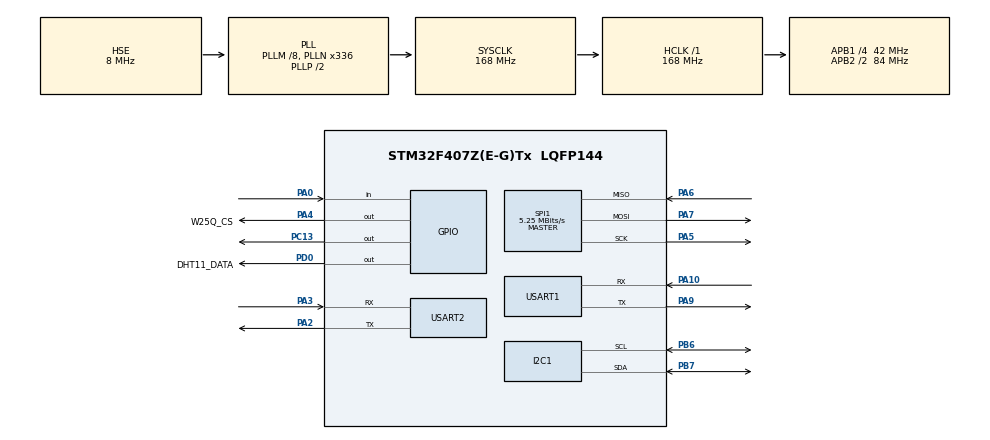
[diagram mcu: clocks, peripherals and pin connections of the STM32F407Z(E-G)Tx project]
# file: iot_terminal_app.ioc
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Dma.Request0=USART1_RX
Dma.USART1_RX.0.Direction=DMA_PERIPH_TO_MEMORY
Dma.USART1_RX.0.FIFOMode=DMA_FIFOMODE_DISABLE
Dma.USART1_RX.0.Instance=DMA2_Stream2
Dma.USART1_RX.0.MemDataAlignment=DMA_MDATAALIGN_BYTE
Dma.USART1_RX.0.MemInc=DMA_MINC_ENABLE
Dma.USART1_RX.0.Mode=DMA_NORMAL
Dma.USART1_RX.0.PeriphDataAlignment=DMA_PDATAALIGN_BYTE
Dma.USART1_RX.0.PeriphInc=DMA_PINC_DISABLE
Dma.USART1_RX.0.Priority=DMA_PRIORITY_LOW
FREERTOS.Tasks01=StatusTask,16,128,StartStatusTask,Default,NULL,Dynamic,NULL,NULL;SensorTask,24,256,StartSensorTask,As weak,NULL,Dynamic,NULL,NULL;WiFiTask,24,512,StartWiFiTask,Default,NULL,Dynamic,NULL,NULL
FREERTOS.configTOTAL_HEAP_SIZE=65536
FREERTOS.configUSE_NEWLIB_REENTRANT=1
IWDG.Prescaler=IWDG_PRESCALER_128
IWDG.Reload=1000
Mcu.Family=STM32F4
Mcu.Name=STM32F407Z(E-G)Tx
Mcu.Package=LQFP144
NVIC.DMA2_Stream2_IRQn=true\:5\:0\:false\:false\:true\:true\:false\:true\:true
NVIC.PriorityGroup=NVIC_PRIORITYGROUP_4
NVIC.RCC_IRQn=true\:5\:0\:false\:false\:true\:true\:true\:false\:true
NVIC.TIM6_DAC_IRQn=true\:15\:0\:false\:false\:true\:false\:false\:true\:true
NVIC.TimeBase=TIM6_DAC_IRQn
NVIC.TimeBaseIP=TIM6
NVIC.USART1_IRQn=true\:5\:0\:false\:false\:true\:true\:true\:true\:true
NVIC.USART2_IRQn=true\:5\:0\:false\:false\:true\:true\:true\:true\:true
PA0-WKUP.GPIO_Mode=GPIO_MODE_INPUT
PA0-WKUP.GPIO_PuPd=GPIO_PULLUP
PA0-WKUP.Signal=GPIO_Input
PA10.Mode=Asynchronous
PA10.Signal=USART1_RX
PA13.Mode=Serial_Wire
PA13.Signal=SYS_JTMS-SWDIO
PA14.Mode=Serial_Wire
PA14.Signal=SYS_JTCK-SWCLK
PA2.Mode=Asynchronous
PA2.Signal=USART2_TX
PA3.Mode=Asynchronous
PA3.Signal=USART2_RX
PA4.GPIO_Label=W25Q_CS
PA4.PinState=GPIO_PIN_SET
PA4.Signal=GPIO_Output
PA5.Mode=Full_Duplex_Master
PA5.Signal=SPI1_SCK
PA6.Mode=Full_Duplex_Master
PA6.Signal=SPI1_MISO
PA7.Mode=Full_Duplex_Master
PA7.Signal=SPI1_MOSI
PA9.Mode=Asynchronous
PA9.Signal=USART1_TX
PB6.Mode=I2C
PB6.Signal=I2C1_SCL
PB7.Mode=I2C
PB7.Signal=I2C1_SDA
PC13-ANTI_TAMP.Signal=GPIO_Output
PD0.GPIO_Label=DHT11_DATA
PD0.Signal=GPIO_Output
PH0-OSC_IN.Mode=HSE-External-Oscillator
PH0-OSC_IN.Signal=RCC_OSC_IN
PH1-OSC_OUT.Mode=HSE-External-Oscillator
PH1-OSC_OUT.Signal=RCC_OSC_OUT
ProjectManager.HeapSize=0x200
ProjectManager.StackSize=0x400
ProjectManager.TargetToolchain=STM32CubeIDE
RCC.48MHZClocksFreq_Value=84000000
RCC.AHBFreq_Value=168000000
RCC.APB1CLKDivider=RCC_HCLK_DIV4
RCC.APB1Freq_Value=42000000
RCC.APB1TimFreq_Value=84000000
RCC.APB2CLKDivider=RCC_HCLK_DIV2
RCC.APB2Freq_Value=84000000
RCC.APB2TimFreq_Value=168000000
RCC.CortexFreq_Value=168000000
RCC.HCLKFreq_Value=168000000
RCC.HSE_VALUE=8000000
RCC.HSI_VALUE=16000000
RCC.LSE_VALUE=32768
RCC.PLLM=8
RCC.PLLN=336
RCC.PLLSourceVirtual=RCC_PLLSOURCE_HSE
RCC.SYSCLKFreq_VALUE=168000000
RCC.SYSCLKSource=RCC_SYSCLKSOURCE_PLLCLK
RCC.VCOOutputFreq_Value=336000000
SPI1.BaudRatePrescaler=SPI_BAUDRATEPRESCALER_16
SPI1.CalculateBaudRate=5.25 MBits/s
SPI1.Direction=SPI_DIRECTION_2LINES
SPI1.Mode=SPI_MODE_MASTER
SPI1.VirtualType=VM_MASTER
USART1.VirtualMode=VM_ASYNC
USART2.VirtualMode=VM_ASYNC
VP_FREERTOS_VS_CMSIS_V2.Mode=CMSIS_V2
VP_IWDG_VS_IWDG.Mode=IWDG_Activate
VP_RTC_VS_RTC_Activate.Mode=RTC_Enabled
VP_RTC_VS_RTC_Calendar.Mode=RTC_Calendar
VP_SYS_VS_tim6.Mode=TIM6
board=custom

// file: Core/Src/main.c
/* USER CODE BEGIN Header */
/**
  ******************************************************************************
  * @file           : main.c
  * @brief          : Main program body
  ******************************************************************************
  * @attention
  *
  * Copyright (c) 2026 STMicroelectronics.
  * All rights reserved.
  *
  * This software is licensed under terms that can be found in the LICENSE file
  * in the root directory of this software component.
  * If no LICENSE file comes with this software, it is provided AS-IS.
  *
  ******************************************************************************
  */
/* USER CODE END Header */
#include "main.h"
#include "cmsis_os.h"

/* USER CODE BEGIN Includes */
#include <stdio.h>
#include <string.h>
#include <stdarg.h>
#include "oled.h"
#include "dht11.h"
#include "bh1750.h"
#include "esp8266.h"
#include "control.h"
#include "w25q64.h"
#include "param_store.h"
#include "history.h"
#include "ota.h"

/* USER CODE END Includes */

/* USER CODE BEGIN PD */

/* WiFiTask 每轮最多补传几条: 一次发太多会让这一个循环占用过久 */
#define HIST_RESEND_BATCH   4U

/* SensorTask 的采样周期 (与循环末尾的 osDelay 保持一致) */
#define SENSOR_PERIOD_MS    2000U

/* 断网后重连失败时的重试间隔 */
#define NET_RETRY_PERIOD_MS 10000U

/* USER CODE END PD */

I2C_HandleTypeDef hi2c1;

IWDG_HandleTypeDef hiwdg;

RTC_HandleTypeDef hrtc;

SPI_HandleTypeDef hspi1;

UART_HandleTypeDef huart1;
UART_HandleTypeDef huart2;
DMA_HandleTypeDef hdma_usart1_rx;

/* Definitions for StatusTask */
osThreadId_t StatusTaskHandle;
const osThreadAttr_t StatusTask_attributes = {
  .name = "StatusTask",
  /* 栈大小: DebugPrint 局部 buf[192] + vsnprintf 调用链, 512B 可能栈溢出, 加大到 1KB */
  .stack_size = 256 * 4,
  /* 高优先级: 保证心跳 LED 与喂狗不被 WiFiTask 长时间阻塞影响 */
  .priority = (osPriority_t) osPriorityHigh,
};
/* Definitions for SensorTask */
osThreadId_t SensorTaskHandle;
const osThreadAttr_t SensorTask_attributes = {
  .name = "SensorTask",
  .stack_size = 512 * 4,
  .priority = (osPriority_t) osPriorityNormal,
};
/* Definitions for WiFiTask */
osThreadId_t WiFiTaskHandle;
const osThreadAttr_t WiFiTask_attributes = {
  .name = "WiFiTask",
  .stack_size = 512 * 4,
  .priority = (osPriority_t) osPriorityNormal,
};
/* USER CODE BEGIN PV */

/* I2C 总线互斥锁 (BH1750 与 OLED 共用 I2C1, 防止并发访问) */
osMutexId_t I2CMutex;

/* 串口打印互斥锁 (printf 多任务输出会字符交错, 加锁保证整行输出) */
osMutexId_t PrintMutex;

/* 存储互斥锁 (SensorTask 写历史记录与 WiFiTask 补传读记录会同时访问 W25Q64) */
osMutexId_t StorageMutex;

/* W25Q64 是否在线: 不在线就跳过所有参数/历史数据存取, 系统照常采集上报 */
static uint8_t g_w25q_ok = 0;

/* 传感器数据消息队列 (SensorTask 发送到 WiFiTask) */
typedef struct
{
  uint8_t temp_int;
  uint8_t humi_int;
  uint16_t lux;
} SensorData_t;
osMessageQueueId_t SensorQueue;

/* 网络状态标志 (WiFiTask 更新, SensorTask 读取并显示到 OLED) */
typedef enum
{
  NET_IDLE = 0,
  NET_WIFI_CONNECTING,
  NET_WIFI_OK,
  NET_MQTT_CONNECTING,
  NET_MQTT_OK,
  NET_FAIL,
} NetState_t;
volatile NetState_t g_net_state = NET_IDLE;

/* USER CODE END PV */

void SystemClock_Config(void);
static void MX_GPIO_Init(void);
static void MX_DMA_Init(void);
static void MX_I2C1_Init(void);
static void MX_SPI1_Init(void);
static void MX_USART1_UART_Init(void);
static void MX_USART2_UART_Init(void);
static void MX_IWDG_Init(void);
static void MX_RTC_Init(void);
void StartStatusTask(void *argument);
void StartSensorTask(void *argument);
void StartWiFiTask(void *argument);

/* USER CODE BEGIN 0 */
/* printf 重定向到调试串口 USART2 */
int __io_putchar(int ch)
{
  HAL_UART_Transmit(&huart2, (uint8_t *)&ch, 1, 100);
  return ch;
}

/**
  * @brief 线程安全的调试打印 (整行缓冲后一次发送)
  * @note  用 DebugPrint 替代 printf, 防止多任务同时打印导致字符交错
  */
void DebugPrint(const char *fmt, ...)
{
  char buf[192];
  va_list args;
  va_start(args, fmt);
  vsnprintf(buf, sizeof(buf), fmt, args);
  va_end(args);

  if (PrintMutex != NULL)
  {
    osMutexAcquire(PrintMutex, osWaitForever);
    HAL_UART_Transmit(&huart2, (uint8_t *)buf, (uint16_t)strlen(buf), 500);
    osMutexRelease(PrintMutex);
  }
  else
  {
    /* 互斥锁尚未创建(调度器启动前), 直接发送 */
    HAL_UART_Transmit(&huart2, (uint8_t *)buf, (uint16_t)strlen(buf), 500);
  }
}

/**
  * @brief 建立网络连接: 探测模块 → 连 WiFi → 连 MQTT
  * @note  开机首次连接和运行中重连都调用它, 全程带超时不会永久卡死
  * @retval 1=MQTT 已连上, 0=任一步失败(状态已置 NET_FAIL)
  */
static uint8_t WiFi_Connect(void)
{
  uint8_t try_cnt = 0;
  ESP_Status_t st;

  g_net_state = NET_WIFI_CONNECTING;

  /* 1. 与 ESP8266 做 AT 握手, 确认模块在线 (最多 5 次) */
  do
  {
    st = ESP_SendCmd("AT\r\n", "OK", 1000);
    try_cnt++;
  } while ((st != ESP_OK) && (try_cnt < 5));

  if (st != ESP_OK)
  {
    DebugPrint("[WiFi] ESP8266 no response!\r\n");
    g_net_state = NET_FAIL;
    return 0;
  }
  DebugPrint("[WiFi] ESP8266 ready\r\n");

  /* 2. 连接 WiFi (内部等待分配 IP) */
  if (ESP_ConnectWiFi(WIFI_SSID, WIFI_PASSWORD) != ESP_OK)
  {
    DebugPrint("[WiFi] connect FAIL\r\n");
    g_net_state = NET_FAIL;
    return 0;
  }
  DebugPrint("[WiFi] connected\r\n");
  g_net_state = NET_WIFI_OK;

  /* 3. 连接 MQTT */
  g_net_state = NET_MQTT_CONNECTING;
  if (ESP_MQTTConnect(MQTT_BROKER, MQTT_PORT, MQTT_CLIENTID, "", "") != ESP_OK)
  {
    DebugPrint("[MQTT] connect FAIL\r\n");
    g_net_state = NET_FAIL;
    return 0;
  }
  DebugPrint("[MQTT] connected to %s:%d\r\n", MQTT_BROKER, MQTT_PORT);
  g_net_state = NET_MQTT_OK;
  return 1;
}

/* USER CODE END 0 */

int main(void)
{

  /* MCU Configuration--------------------------------------------------------*/

  /* Reset of all peripherals, Initializes the Flash interface and the Systick. */
  HAL_Init();

  /* Configure the system clock */
  SystemClock_Config();

  /* Initialize all configured peripherals */
  MX_GPIO_Init();
  MX_DMA_Init();
  MX_I2C1_Init();
  MX_SPI1_Init();
  MX_USART1_UART_Init();
  MX_USART2_UART_Init();
  MX_IWDG_Init();
  MX_RTC_Init();
  /* USER CODE BEGIN 2 */
  /* Reset reason diagnosis: IWDG watchdog reset? (PrintMutex is NULL here, DebugPrint falls back to direct send) */
  if (__HAL_RCC_GET_FLAG(RCC_FLAG_IWDGRST))
  {
    DebugPrint("[RST] IWDG watchdog reset!\r\n");
  }
  __HAL_RCC_CLEAR_RESET_FLAGS();

  /* 执行器初始化: 上电先把 4 路输出置为"关", 保证安全默认状态
   * (引脚模式已在 MX_GPIO_Init() 里配好, 这里只负责电平) */
  Control_Init();

  /* W25Q64: 先确认芯片在线, 再挂上"模拟 EEPROM"参数区和历史数据区 */
  if (W25Q_Init())
  {
    g_w25q_ok = 1;

    /* 读写擦回环自测: 用分区表里预留的自测扇区, 不碰历史数据 (约几十 ms) */
    W25Q_SelfTest();

    /* 模拟 EEPROM: 从双槽 A/B 里载入 OTA 元数据与历史指针, 并把重启次数 +1 */
    Param_Init();

    /* 历史数据区: 找回最后一条记录的时间戳, 防止 RTC 复位后时间戳倒退 */
    History_Init();

    /* OTA 元数据: 打印模拟 EEPROM 里存着的升级标志与固件信息 */
    OTA_PrintStatus();
  }
  else
  {
    DebugPrint("[W25Q] offline! 历史存储/断网补传已停用\r\n");
  }
  /* USER CODE END 2 */

  /* Init scheduler */
  osKernelInitialize();

  /* USER CODE BEGIN RTOS_MUTEX */
  /* add mutexes, ... */
  I2CMutex = osMutexNew(NULL);
  PrintMutex = osMutexNew(NULL);
  StorageMutex = osMutexNew(NULL);
  /* USER CODE END RTOS_MUTEX */

  /* USER CODE BEGIN RTOS_QUEUES */
  /* add queues, ... */
  SensorQueue = osMessageQueueNew(4, sizeof(SensorData_t), NULL);
  /* USER CODE END RTOS_QUEUES */

  /* Create the thread(s) */
  /* creation of StatusTask */
  StatusTaskHandle = osThreadNew(StartStatusTask, NULL, &StatusTask_attributes);

  /* creation of SensorTask */
  SensorTaskHandle = osThreadNew(StartSensorTask, NULL, &SensorTask_attributes);

  /* creation of WiFiTask */
  WiFiTaskHandle = osThreadNew(StartWiFiTask, NULL, &WiFiTask_attributes);

  /* Start scheduler */
  osKernelStart();

  /* We should never get here as control is now taken by the scheduler */

  /* Infinite loop */
  while (1)
  {

  }
}

void SystemClock_Config(void)
{
  RCC_OscInitTypeDef RCC_OscInitStruct = {0};
  RCC_ClkInitTypeDef RCC_ClkInitStruct = {0};

  /** Configure the main internal regulator output voltage
  */
  __HAL_RCC_PWR_CLK_ENABLE();
  __HAL_PWR_VOLTAGESCALING_CONFIG(PWR_REGULATOR_VOLTAGE_SCALE1);

  /** Initializes the RCC Oscillators according to the specified parameters
  * in the RCC_OscInitTypeDef structure.
  */
  RCC_OscInitStruct.OscillatorType = RCC_OSCILLATORTYPE_LSI|RCC_OSCILLATORTYPE_HSE;
  RCC_OscInitStruct.HSEState = RCC_HSE_ON;
  RCC_OscInitStruct.LSIState = RCC_LSI_ON;
  RCC_OscInitStruct.PLL.PLLState = RCC_PLL_ON;
  RCC_OscInitStruct.PLL.PLLSource = RCC_PLLSOURCE_HSE;
  RCC_OscInitStruct.PLL.PLLM = 8;
  RCC_OscInitStruct.PLL.PLLN = 336;
  RCC_OscInitStruct.PLL.PLLP = RCC_PLLP_DIV2;
  RCC_OscInitStruct.PLL.PLLQ = 4;
  if (HAL_RCC_OscConfig(&RCC_OscInitStruct) != HAL_OK)
  {
    Error_Handler();
  }

  /** Initializes the CPU, AHB and APB buses clocks
  */
  RCC_ClkInitStruct.ClockType = RCC_CLOCKTYPE_HCLK|RCC_CLOCKTYPE_SYSCLK
                              |RCC_CLOCKTYPE_PCLK1|RCC_CLOCKTYPE_PCLK2;
  RCC_ClkInitStruct.SYSCLKSource = RCC_SYSCLKSOURCE_PLLCLK;
  RCC_ClkInitStruct.AHBCLKDivider = RCC_SYSCLK_DIV1;
  RCC_ClkInitStruct.APB1CLKDivider = RCC_HCLK_DIV4;
  RCC_ClkInitStruct.APB2CLKDivider = RCC_HCLK_DIV2;

  if (HAL_RCC_ClockConfig(&RCC_ClkInitStruct, FLASH_LATENCY_5) != HAL_OK)
  {
    Error_Handler();
  }
}

static void MX_I2C1_Init(void)
{

  hi2c1.Instance = I2C1;
  hi2c1.Init.ClockSpeed = 100000;
  hi2c1.Init.DutyCycle = I2C_DUTYCYCLE_2;
  hi2c1.Init.OwnAddress1 = 0;
  hi2c1.Init.AddressingMode = I2C_ADDRESSINGMODE_7BIT;
  hi2c1.Init.DualAddressMode = I2C_DUALADDRESS_DISABLE;
  hi2c1.Init.OwnAddress2 = 0;
  hi2c1.Init.GeneralCallMode = I2C_GENERALCALL_DISABLE;
  hi2c1.Init.NoStretchMode = I2C_NOSTRETCH_DISABLE;
  if (HAL_I2C_Init(&hi2c1) != HAL_OK)
  {
    Error_Handler();
  }

}

static void MX_IWDG_Init(void)
{

  hiwdg.Instance = IWDG;
  hiwdg.Init.Prescaler = IWDG_PRESCALER_128;
  hiwdg.Init.Reload = 1000;
  if (HAL_IWDG_Init(&hiwdg) != HAL_OK)
  {
    Error_Handler();
  }

}

static void MX_RTC_Init(void)
{

  RTC_TimeTypeDef sTime = {0};
  RTC_DateTypeDef sDate = {0};

  /** Initialize RTC Only
  */
  hrtc.Instance = RTC;
  hrtc.Init.HourFormat = RTC_HOURFORMAT_24;
  hrtc.Init.AsynchPrediv = 127;
  hrtc.Init.SynchPrediv = 255;
  hrtc.Init.OutPut = RTC_OUTPUT_DISABLE;
  hrtc.Init.OutPutPolarity = RTC_OUTPUT_POLARITY_HIGH;
  hrtc.Init.OutPutType = RTC_OUTPUT_TYPE_OPENDRAIN;
  if (HAL_RTC_Init(&hrtc) != HAL_OK)
  {
    Error_Handler();
  }

  /** Initialize RTC and set the Time and Date
  */
  sTime.Hours = 0x0;
  sTime.Minutes = 0x0;
  sTime.Seconds = 0x0;
  sTime.DayLightSaving = RTC_DAYLIGHTSAVING_NONE;
  sTime.StoreOperation = RTC_STOREOPERATION_RESET;
  if (HAL_RTC_SetTime(&hrtc, &sTime, RTC_FORMAT_BCD) != HAL_OK)
  {
    Error_Handler();
  }
  sDate.WeekDay = RTC_WEEKDAY_MONDAY;
  sDate.Month = RTC_MONTH_JANUARY;
  sDate.Date = 0x1;
  sDate.Year = 0x0;

  if (HAL_RTC_SetDate(&hrtc, &sDate, RTC_FORMAT_BCD) != HAL_OK)
  {
    Error_Handler();
  }

}

static void MX_SPI1_Init(void)
{

  /* SPI1 parameter configuration*/
  hspi1.Instance = SPI1;
  hspi1.Init.Mode = SPI_MODE_MASTER;
  hspi1.Init.Direction = SPI_DIRECTION_2LINES;
  hspi1.Init.DataSize = SPI_DATASIZE_8BIT;
  hspi1.Init.CLKPolarity = SPI_POLARITY_LOW;
  hspi1.Init.CLKPhase = SPI_PHASE_1EDGE;
  hspi1.Init.NSS = SPI_NSS_SOFT;
  hspi1.Init.BaudRatePrescaler = SPI_BAUDRATEPRESCALER_16;
  hspi1.Init.FirstBit = SPI_FIRSTBIT_MSB;
  hspi1.Init.TIMode = SPI_TIMODE_DISABLE;
  hspi1.Init.CRCCalculation = SPI_CRCCALCULATION_DISABLE;
  hspi1.Init.CRCPolynomial = 10;
  if (HAL_SPI_Init(&hspi1) != HAL_OK)
  {
    Error_Handler();
  }

}

static void MX_USART1_UART_Init(void)
{

  huart1.Instance = USART1;
  huart1.Init.BaudRate = 115200;
  huart1.Init.WordLength = UART_WORDLENGTH_8B;
  huart1.Init.StopBits = UART_STOPBITS_1;
  huart1.Init.Parity = UART_PARITY_NONE;
  huart1.Init.Mode = UART_MODE_TX_RX;
  huart1.Init.HwFlowCtl = UART_HWCONTROL_NONE;
  huart1.Init.OverSampling = UART_OVERSAMPLING_16;
  if (HAL_UART_Init(&huart1) != HAL_OK)
  {
    Error_Handler();
  }

}

static void MX_USART2_UART_Init(void)
{

  huart2.Instance = USART2;
  huart2.Init.BaudRate = 115200;
  huart2.Init.WordLength = UART_WORDLENGTH_8B;
  huart2.Init.StopBits = UART_STOPBITS_1;
  huart2.Init.Parity = UART_PARITY_NONE;
  huart2.Init.Mode = UART_MODE_TX_RX;
  huart2.Init.HwFlowCtl = UART_HWCONTROL_NONE;
  huart2.Init.OverSampling = UART_OVERSAMPLING_16;
  if (HAL_UART_Init(&huart2) != HAL_OK)
  {
    Error_Handler();
  }

}

static void MX_DMA_Init(void)
{

  /* DMA controller clock enable */
  __HAL_RCC_DMA2_CLK_ENABLE();

  /* DMA interrupt init */
  /* DMA2_Stream2_IRQn interrupt configuration */
  HAL_NVIC_SetPriority(DMA2_Stream2_IRQn, 5, 0);
  HAL_NVIC_EnableIRQ(DMA2_Stream2_IRQn);

}

static void MX_GPIO_Init(void)
{
  GPIO_InitTypeDef GPIO_InitStruct = {0};

  /* GPIO Ports Clock Enable */
  __HAL_RCC_GPIOC_CLK_ENABLE();
  __HAL_RCC_GPIOH_CLK_ENABLE();
  __HAL_RCC_GPIOA_CLK_ENABLE();
  __HAL_RCC_GPIOD_CLK_ENABLE();
  __HAL_RCC_GPIOB_CLK_ENABLE();

  /*Configure GPIO pin Output Level */
  HAL_GPIO_WritePin(GPIOC, GPIO_PIN_13, GPIO_PIN_RESET);

  /*Configure GPIO pin Output Level */
  HAL_GPIO_WritePin(W25Q_CS_GPIO_Port, W25Q_CS_Pin, GPIO_PIN_SET);

  /*Configure GPIO pin Output Level */
  HAL_GPIO_WritePin(DHT11_DATA_GPIO_Port, DHT11_DATA_Pin, GPIO_PIN_RESET);

  /*Configure GPIO pin : PC13 */
  GPIO_InitStruct.Pin = GPIO_PIN_13;
  GPIO_InitStruct.Mode = GPIO_MODE_OUTPUT_PP;
  GPIO_InitStruct.Pull = GPIO_NOPULL;
  GPIO_InitStruct.Speed = GPIO_SPEED_FREQ_LOW;
  HAL_GPIO_Init(GPIOC, &GPIO_InitStruct);

  /*Configure GPIO pin : PA0 */
  GPIO_InitStruct.Pin = GPIO_PIN_0;
  GPIO_InitStruct.Mode = GPIO_MODE_INPUT;
  GPIO_InitStruct.Pull = GPIO_PULLUP;
  HAL_GPIO_Init(GPIOA, &GPIO_InitStruct);

  /*Configure GPIO pin : W25Q_CS_Pin */
  GPIO_InitStruct.Pin = W25Q_CS_Pin;
  GPIO_InitStruct.Mode = GPIO_MODE_OUTPUT_PP;
  GPIO_InitStruct.Pull = GPIO_NOPULL;
  GPIO_InitStruct.Speed = GPIO_SPEED_FREQ_LOW;
  HAL_GPIO_Init(W25Q_CS_GPIO_Port, &GPIO_InitStruct);

  /*Configure GPIO pin : DHT11_DATA_Pin */
  GPIO_InitStruct.Pin = DHT11_DATA_Pin;
  GPIO_InitStruct.Mode = GPIO_MODE_OUTPUT_PP;
  GPIO_InitStruct.Pull = GPIO_NOPULL;
  GPIO_InitStruct.Speed = GPIO_SPEED_FREQ_LOW;
  HAL_GPIO_Init(DHT11_DATA_GPIO_Port, &GPIO_InitStruct);

  /* USER CODE BEGIN MX_GPIO_Init_2 */
  /* ---- 执行器引脚初始化: PE0~PE3, 4 路推挽输出 ----
   * 放在 USER CODE 区里, CubeMX 重新生成代码时不会被覆盖 */
  __HAL_RCC_GPIOE_CLK_ENABLE();   /* 关键: 必须使能 GPIOE 端口时钟, 否则下面的配置全部无效 */

  /* 先把输出寄存器写成"关"电平, 再切成输出模式, 避免上电瞬间抖动误动作 */
  HAL_GPIO_WritePin(GPIOE,
                    FAN_RELAY_Pin | PUMP_RELAY_Pin | LIGHT_RELAY_Pin | BUZZER_Pin,
                    ACTUATOR_OFF_LEVEL);

  GPIO_InitStruct.Pin   = FAN_RELAY_Pin | PUMP_RELAY_Pin | LIGHT_RELAY_Pin | BUZZER_Pin;
  GPIO_InitStruct.Mode  = GPIO_MODE_OUTPUT_PP;   /* 推挽输出 */
  GPIO_InitStruct.Pull  = GPIO_NOPULL;
  GPIO_InitStruct.Speed = GPIO_SPEED_FREQ_LOW;   /* 只是开关继电器, 低速足够, 还能减小干扰 */
  HAL_GPIO_Init(GPIOE, &GPIO_InitStruct);

  /* USER CODE END MX_GPIO_Init_2 */
}

void StartStatusTask(void *argument)
{
  /* USER CODE BEGIN 5 */
  uint32_t log_cnt = 0;
  DebugPrint("\r\n===== System Start =====\r\n");
  DebugPrint("FreeRTOS running, CPU: 168MHz\r\n");
  for(;;)
  {
    /* PC13 板载 LED 心跳闪烁, 指示系统正常运行 (500ms 翻转一次) */
    HAL_GPIO_TogglePin(LED_GPIO_Port, LED_Pin);

    /* 喂独立看门狗, 超时约 4 秒 (128 分频 x 1000 重装) */
    HAL_IWDG_Refresh(&hiwdg);

    /* 每 20 次循环(约 10 秒)打印一次存活日志 */
    log_cnt++;
    if (log_cnt >= 20)
    {
      log_cnt = 0;
      DebugPrint("[StatusTask] alive, tick=%lu\r\n", (unsigned long)HAL_GetTick());
    }

    osDelay(500);
  }
  /* USER CODE END 5 */
}

__weak void StartSensorTask(void *argument)
{
  /* USER CODE BEGIN StartSensorTask */
  DHT11_Data_t dht = {0};
  SensorData_t sd;
  uint16_t lux;
  uint8_t dht_ok;
  uint8_t hist_div = 0;   /* 采样次数计数器: 攒够 HIST_INTERVAL_MS 才存一条历史记录 */

  DebugPrint("[SensorTask] sensor mode\r\n");

  /* 初始化 DWT 微秒级延时 (DHT11 时序需要) */
  DHT11_Init();

  /* 初始化 OLED */
  OLED_Init();
  OLED_Clear();

  /* 初始化 BH1750 (I2C 访问需加总线互斥锁) */
  osMutexAcquire(I2CMutex, osWaitForever);
  BH1750_Init();
  osMutexRelease(I2CMutex);

  for(;;)
  {
    /* 1. 读取 DHT11 温湿度 (含起止信号时序, 采样间隔 >= 1s) */
    dht_ok = DHT11_Read(&dht);
    if (!dht_ok)
    {
      DebugPrint("[Sensor] DHT11 read FAIL (err=%u: 1=no resp, 2=bit timeout, 3=checksum)\r\n",
                 (unsigned)g_dht11_err);
    }

    /* 2. 读取 BH1750 光照 (I2C 访问需加总线互斥锁) */
    osMutexAcquire(I2CMutex, osWaitForever);
    lux = BH1750_ReadLux();
    osMutexRelease(I2CMutex);

    /* 3. 刷新 OLED 显示 (I2C 访问需加总线互斥锁)
     *    大字宽 12px / 高 16px: 第 2 个参数是行号 0~3, x 按 12 的倍数排布 */
    osMutexAcquire(I2CMutex, osWaitForever);
    OLED_ShowBigString(0, 0, "Temp:");
    OLED_ShowBigNum(60, 0, dht.temp_int, 2);
    OLED_ShowBigChar(84, 0, 'C');

    OLED_ShowBigString(0, 1, "Humi:");
    OLED_ShowBigNum(60, 1, dht.humi_int, 2);
    OLED_ShowBigChar(84, 1, '%');

    OLED_ShowBigString(0, 2, "Lux:");
    OLED_ShowBigNum(36, 2, lux, 5);
    OLED_ShowBigString(96, 2, "lx");

    OLED_ShowBigString(0, 3, "Net:");
    switch (g_net_state)
    {
      /* 状态串固定 6 个字符 (=72px, 48+72=120 < 128), 末尾补空格可覆盖上次的残留 */
      case NET_IDLE:            OLED_ShowBigString(48, 3, "IDLE  "); break;
      case NET_WIFI_CONNECTING: OLED_ShowBigString(48, 3, "WiFi.."); break;
      case NET_WIFI_OK:         OLED_ShowBigString(48, 3, "WiFiOK"); break;
      case NET_MQTT_CONNECTING: OLED_ShowBigString(48, 3, "MQTT.."); break;
      case NET_MQTT_OK:         OLED_ShowBigString(48, 3, "MQTTOK"); break;
      case NET_FAIL:            OLED_ShowBigString(48, 3, "FAIL  "); break;
      default:                  OLED_ShowBigString(48, 3, "??????"); break;
    }
    osMutexRelease(I2CMutex);

    /* 4. 本地闭环控制: 拿刚采到的数据比对阈值, 超限立刻驱动执行器(不等云端)
     *    注意只在 DHT11 读取成功时评估: 读取失败时 dht 里是上一次的旧值,
     *    用陈旧的温湿度去判断会产生误报警/误动作 */
    if (dht_ok)
    {
      float temp_f = (float)dht.temp_int + (float)dht.temp_dec * 0.1f;
      float humi_f = (float)dht.humi_int + (float)dht.humi_dec * 0.1f;
      Control_Evaluate(temp_f, humi_f, (float)lux);
    }

    /* 5. 传感器数据入队发送给 WiFiTask (非阻塞) */
    sd.temp_int = dht.temp_int;
    sd.humi_int = dht.humi_int;
    sd.lux = lux;
    osMessageQueuePut(SensorQueue, &sd, 0, 0);

    /* 6. 每 HIST_INTERVAL_MS 往 W25Q64 存一条历史记录
     *    采样周期 2 秒, 所以攒够 5 次才存一条 = 10 秒一条 (整圈能存约 56 天)。
     *    这条记录同时也充当"断网暂存": MQTT 没连上时 WiFiTask 不会去确认它,
     *    数据就一直留在 FLASH 里, 等联网后再补传出去。
     *    DHT11 读失败时 dht 里是上一次的旧值, 这里照旧存下去 (跟 OLED 显示保持一致),
     *    避免因为一次读失败就在历史曲线里留个空洞 */
    if (g_w25q_ok)
    {
      hist_div++;
      if (hist_div >= (HIST_INTERVAL_MS / SENSOR_PERIOD_MS))
      {
        hist_div = 0;
        osMutexAcquire(StorageMutex, osWaitForever);
        History_Append((int16_t)(((int16_t)dht.temp_int * 10) + (int16_t)dht.temp_dec),
                       (uint16_t)(((uint16_t)dht.humi_int * 10) + dht.humi_dec),
                       lux);
        osMutexRelease(StorageMutex);
      }
    }

    /* 7. 打印调试日志 */
    if (dht_ok)
    {
      DebugPrint("[Sensor] Temp=%u.%uC Humi=%u.%u%% Lux=%u lx\r\n",
                 dht.temp_int, dht.temp_dec, dht.humi_int, dht.humi_dec, lux);
    }
    else
    {
      DebugPrint("[Sensor] Temp=-- Humi=-- Lux=%u lx\r\n", lux);
    }

    /* DHT11 采样间隔不能小于 1 秒 */
    osDelay(SENSOR_PERIOD_MS);
  }
  /* USER CODE END StartSensorTask */
}

void StartWiFiTask(void *argument)
{
  /* USER CODE BEGIN StartWiFiTask */
  SensorData_t sd;
  HistRecord_t rec;
  char payload[192];
  uint8_t sent;       /* 本轮已成功补传的条数 */
  uint8_t peek;       /* History_Peek 的返回值 */
  int16_t temp_x10;
  char tsign;
  uint32_t pending;
  uint16_t fw_ver;    /* 上报报文里的固件版本 (从模拟 EEPROM 里读) */

  DebugPrint("[WiFiTask] start\r\n");

  /* 等待 ESP8266 上电就绪 (NodeMCU USB 串口枚举约需 1~2 秒) */
  osDelay(3000);

  /* 初始化 USART1 与 ESP8266 的通信 */
  ESP_Init();

  /* 首次连接: 失败也不退出, 交给下面的主循环一直重试 */
  WiFi_Connect();

  /* 上报报文里的固件版本: 从模拟 EEPROM 读, 读不到就用编译时的默认版本 */
  fw_ver = (g_w25q_ok != 0U) ? Param_Get()->fw_version : FW_VERSION_CURRENT;

  for(;;)
  {
    /* 1. 把队列取空 (超时 1 秒, 兼作本轮的节拍)。
     *    注意数据不靠这个队列传递了: SensorTask 已经把记录写进 W25Q64,
     *    这里取队列只是别让 SensorTask 的非阻塞入队一直堆积 */
    osMessageQueueGet(SensorQueue, &sd, NULL, 1000);

    /* 2. MQTT 没连上就重连 (开机首次失败、运行中掉线都会走到这里)。
     *    连上之前不发数据, 数据留在 W25Q64 里等联网后补传 */
    if (g_net_state != NET_MQTT_OK)
    {
      if (WiFi_Connect() == 0U)
      {
        DebugPrint("[NET] offline, retry in %u s\r\n",
                   (unsigned)(NET_RETRY_PERIOD_MS / 1000U));
        osDelay(NET_RETRY_PERIOD_MS);
      }
      continue;
    }

    /* 3. 存储不可用: 什么都不发 */
    if (!g_w25q_ok)
    {
      continue;
    }

    /* 4. 从最老的待补传记录开始, 逐条发出去 (在线时这就是常规上报) */
    sent = 0;
    while (sent < HIST_RESEND_BATCH)
    {
      osMutexAcquire(StorageMutex, osWaitForever);
      peek = History_Peek(0, &rec);
      osMutexRelease(StorageMutex);

      if (peek == HIST_EMPTY)
      {
        break;   /* 没有待传数据了 */
      }
      if (peek == HIST_BAD)
      {
        /* 这条记录坏了(写入时掉电)或已被环形区覆盖: 直接跳过,
         * 否则补传会永远卡在这一条上, 后面的数据也发不出去 */
        DebugPrint("[MQTT] skip bad record\r\n");
        osMutexAcquire(StorageMutex, osWaitForever);
        History_Ack();
        osMutexRelease(StorageMutex);
        continue;
      }

      /* 组装 JSON: 温湿度带一位小数, 并带上序号和时间戳方便云端去重 */
      temp_x10 = rec.temp_x10;
      tsign = ' ';
      if (temp_x10 < 0)
      {
        tsign = '-';
        temp_x10 = (int16_t)(-temp_x10);
      }
      snprintf(payload, sizeof(payload),
               "{\"id\":\"%s\",\"fw\":\"%u.%u\",\"seq\":%lu,\"ts\":%lu,"
               "\"temp\":%c%lu.%lu,\"humi\":%lu.%lu,\"lux\":%u}",
               MQTT_CLIENTID,
               (unsigned)(fw_ver >> 8), (unsigned)(fw_ver & 0xFF),
               (unsigned long)rec.seq, (unsigned long)rec.ts,
               tsign,
               (unsigned long)(temp_x10 / 10), (unsigned long)(temp_x10 % 10),
               (unsigned long)(rec.humi_x10 / 10), (unsigned long)(rec.humi_x10 % 10),
               (unsigned)rec.lux);

      if (ESP_MQTTPublish(MQTT_TOPIC, payload) != ESP_OK)
      {
        /* 发送失败: 不确认, 这条记录原样留在 FLASH 里等下一轮重发 */
        DebugPrint("[MQTT] publish FAIL, data kept in W25Q64\r\n");
        g_net_state = NET_FAIL;
        break;
      }

      DebugPrint("[MQTT] PUBLISH OK: %s\r\n", payload);

      /* 上传成功才确认, 让"待补传队列"的队头往后走一条 */
      osMutexAcquire(StorageMutex, osWaitForever);
      History_Ack();
      osMutexRelease(StorageMutex);
      sent++;
    }

    /* 5. 报一下还剩多少条积压 (只在刚清空或一条都发不出去时打印, 避免刷屏) */
    osMutexAcquire(StorageMutex, osWaitForever);
    pending = History_PendingCount();
    osMutexRelease(StorageMutex);

    if (pending == 0U)
    {
      if (sent > 0U)
      {
        DebugPrint("[MQTT] backlog cleared\r\n");
      }
    }
    else if (sent == 0U)
    {
      DebugPrint("[MQTT] pending=%lu, wait for resend\r\n", (unsigned long)pending);
    }

    /* 发送间隔 500ms */
    osDelay(500);
  }
  /* USER CODE END StartWiFiTask */
}

void HAL_TIM_PeriodElapsedCallback(TIM_HandleTypeDef *htim)
{
  if (htim->Instance == TIM6)
  {
    HAL_IncTick();
  }
}

void Error_Handler(void)
{
  __disable_irq();
  while (1)
  {
  }
}
